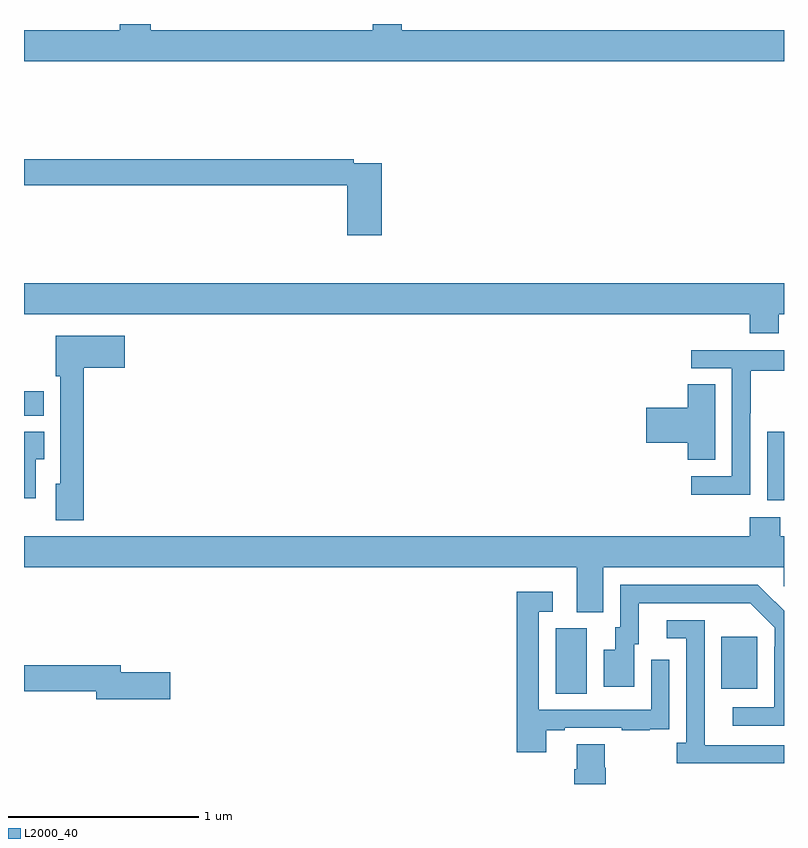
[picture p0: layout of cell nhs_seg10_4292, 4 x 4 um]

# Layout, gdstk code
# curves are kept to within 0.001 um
import gdstk
lib = gdstk.Library(unit=1e-6, precision=1e-09)
def R(c, l, rs):  # rectangles x0, y0, x1, y1
    for r in rs: c.add(gdstk.rectangle(r[:2], r[2:], *l))
def P(c, l, *ps):  # polygons
    for p in ps: c.add(gdstk.Polygon(p, *l))
L2000_40 = (2000, 40)

nhs_seg10_4292 = lib.new_cell('nhs_seg10_4292')
R(nhs_seg10_4292, L2000_40, [(353.798,1308.976,353.962,1309.32), (354.671,1309.001,354.859,1309.276), (354.911,1309.994,355,1310.355), (351,1310.438,351.103,1310.566)])
P(nhs_seg10_4292, L2000_40, [(355,1312.468),(352.987,1312.468),(352.987,1312.5),(352.835,1312.5),(352.835,1312.468),(351.668,1312.468),(351.668,1312.5),(351.503,1312.5),(351.503,1312.468),(351,1312.468),(351,1312.304),(355,1312.304)],
  [(352.883,1311.768),(352.736,1311.768),(352.736,1311.788),(351,1311.788),(351,1311.652),(352.7,1311.652),(352.7,1311.387),(352.883,1311.387)],
  [(354.973,1310.972),(355,1310.972),(355,1311.136),(351,1311.136),(351,1310.972),(354.821,1310.972),(354.821,1310.873),(354.973,1310.873)],
  [(351.314,1310.69),(351.529,1310.69),(351.529,1310.86),(351.167,1310.86),(351.167,1310.646),(351.191,1310.646),(351.191,1310.079),(351.167,1310.079),(351.167,1309.889),(351.314,1309.889)],
  [(354.822,1310.452),(354.825,1310.452),(354.825,1310.676),(355,1310.676),(355,1310.784),(354.513,1310.784),(354.513,1310.688),(354.726,1310.688),(354.726,1310.121),(354.513,1310.121),(354.513,1310.023),(354.822,1310.023)],
  [(354.637,1310.603),(354.494,1310.603),(354.494,1310.48),(354.276,1310.48),(354.276,1310.297),(354.494,1310.297),(354.494,1310.206),(354.637,1310.206)],
  [(351.061,1310.209),(351.106,1310.209),(351.106,1310.353),(351,1310.353),(351,1310.003),(351.061,1310.003)],
  [(351,1309.64),(353.909,1309.64),(353.909,1309.405),(354.049,1309.405),(354.049,1309.64),(354.999,1309.64),(354.999,1309.542),(355,1309.542),(355,1309.804),(354.981,1309.804),(354.981,1309.903),(354.821,1309.903),(354.821,1309.804),(351,1309.804)],
  [(355,1309.412),(354.862,1309.548),(354.138,1309.548),(354.138,1309.326),(354.113,1309.326),(354.113,1309.207),(354.05,1309.207),(354.05,1309.011),(354.211,1309.011),(354.211,1309.236),(354.235,1309.236),(354.235,1309.452),(354.823,1309.452),(354.951,1309.323),(354.951,1309.223),(354.948,1309.223),(354.948,1308.903),(354.729,1308.903),(354.729,1308.807),(355,1308.807)],
  [(353.749,1308.783),(353.845,1308.783),(353.845,1308.795),(354.145,1308.795),(354.145,1308.783),(354.293,1308.783),(354.293,1308.789),(354.395,1308.789),(354.395,1308.898),(354.396,1308.898),(354.396,1309.153),(354.3,1309.153),(354.3,1308.891),(353.709,1308.891),(353.709,1309.407),(353.782,1309.407),(353.782,1309.513),(353.593,1309.513),(353.593,1308.666),(353.749,1308.666)],
  [(355,1308.705),(354.583,1308.705),(354.583,1308.905),(354.582,1308.905),(354.582,1309.362),(354.384,1309.362),(354.384,1309.266),(354.486,1309.266),(354.486,1308.718),(354.435,1308.718),(354.435,1308.608),(355,1308.608)],
  [(351.769,1309.088),(351.508,1309.088),(351.508,1309.124),(351,1309.124),(351,1308.988),(351.38,1308.988),(351.38,1308.946),(351.769,1308.946)],
  [(354.062,1308.585),(354.057,1308.585),(354.057,1308.71),(353.909,1308.71),(353.909,1308.578),(353.897,1308.578),(353.897,1308.5),(354.062,1308.5)])

lib.write_gds('nhs_seg10_4292.gds')
